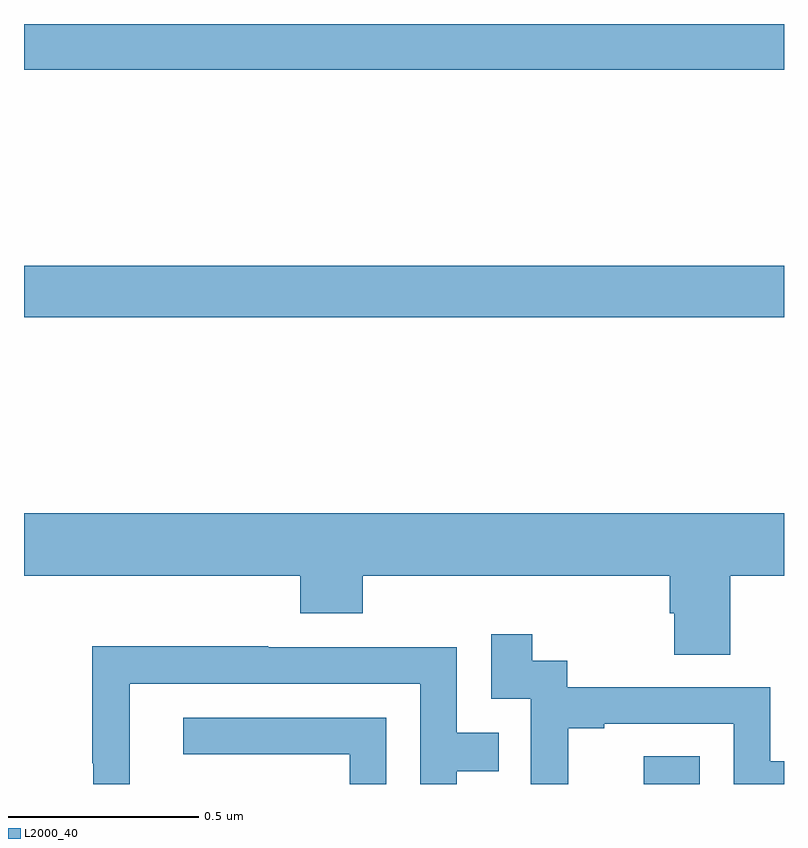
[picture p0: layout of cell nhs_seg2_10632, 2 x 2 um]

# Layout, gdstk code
import gdstk
lib = gdstk.Library(unit=1e-6, precision=1e-09)
def R(c, l, rs):  # rectangles x0, y0, x1, y1
    for r in rs: c.add(gdstk.rectangle(r[:2], r[2:], *l))
def P(c, l, *ps):  # polygons
    for p in ps: c.add(gdstk.Polygon(p, *l))
L2000_40 = (2000, 40)

nhs_seg2_10632 = lib.new_cell('nhs_seg2_10632')
R(nhs_seg2_10632, L2000_40, [(245.631,601.8,245.778,601.873), (244,603.028,246,603.164), (244,603.68,246,603.8)])
P(nhs_seg2_10632, L2000_40, [(245.859,602.348),(246,602.348),(246,602.512),(244,602.512),(244,602.348),(244.727,602.348),(244.727,602.249),(244.892,602.249),(244.892,602.348),(245.699,602.348),(245.699,602.25),(245.711,602.25),(245.711,602.14),(245.859,602.14)],
  [(245.432,601.947),(245.527,601.947),(245.527,601.959),(245.868,601.959),(245.868,601.8),(246,601.8),(246,601.86),(245.964,601.86),(245.964,602.055),(245.43,602.055),(245.43,602.124),(245.338,602.124),(245.338,602.194),(245.229,602.194),(245.229,602.025),(245.334,602.025),(245.334,601.8),(245.432,601.8)],
  [(244.278,602.064),(245.043,602.064),(245.043,601.8),(245.139,601.8),(245.139,601.834),(245.249,601.834),(245.249,601.935),(245.139,601.935),(245.139,602.16),(244.643,602.16),(244.643,602.162),(244.18,602.162),(244.18,601.855),(244.182,601.855),(244.182,601.8),(244.278,601.8)],
  [(244.953,601.974),(244.419,601.974),(244.419,601.878),(244.857,601.878),(244.857,601.8),(244.953,601.8)])

lib.write_gds('nhs_seg2_10632.gds')
